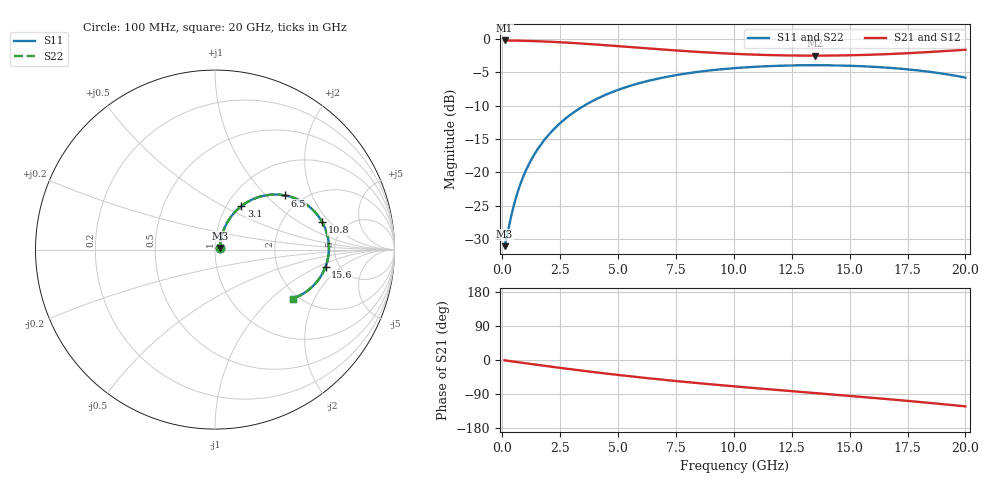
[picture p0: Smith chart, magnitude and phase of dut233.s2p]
! Touchstone file exported from HFSS 2026.1.0
!  File:  C:/ffzhzh/LocalFiles/Ansys_Project_Files/temp_train_TSV_RDL_233_1783065016_46780.aedt
!  Generated:  04:10:50 PM Jul  3, 2026
!  Design:  TSV_RDL
!  Project:  temp_train_TSV_RDL_233_1783065016_46780
! Variables:
!  h_bsmrdl = 2.08um
!  h_ox = 20um
!  h_rdl = 5um
!  h_sub = 96.29um
!  h_tmrdl = 2.48um
!  h_tsv = 96.29um
!  h_via = 3um
!  l_bsmrdl = 251.96um
!  l_sub = 1880.29um
!  l_tmrdl = 149.43um
!  m_sub = 200um
!  pitch = 55.37um
!  r_tsv = 2.14um
!  s_tmrdl = 10um
!  w_bsmrdl = 27.65um
!  w_sub = 500um
!  w_tmrdl = 14.58um
!  x_tsv_center1 = 156.72um
!  x_tsv_center2 = 436.33um
!  x_tsv_center3 = 600.34um
!  x_tsv_center4 = 879.95um
!  x_tsv_center5 = 1043.96um
!  x_tsv_center6 = 1323.57um
# GHz S MA R 50.000000
! Terminal data exported
! Port[1] = TM_RDL1_1_T1
! Port[2] = TM_RDL5_1_T1
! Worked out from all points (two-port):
!   200 points, 100 MHz to 20 GHz, reference 50 ohm
!   highest |S21| = -0.23 dB at 100 MHz (marker M1); lowest = -2.5 dB at 13.5 GHz (marker M2)
!   |S21| within 3 dB of the highest: start of sweep to end of sweep
!   lowest |S11| = -31.1 dB at 100 MHz (marker M3), VSWR 1.06, Z = 52.7 + j1.03 ohm
!   |S11| at or under -10 dB: start of sweep to 3.537 GHz
!   |S22| runs from -31.1 to -3.9 dB; largest |S21 - S12| = 2.6e-14
!   S11 on the Smith chart (normalised r, x): 100 MHz: 1.05, +0.02; 3.1 GHz: 1.17, +0.61; 6.5 GHz: 1.64, +1.31; 10.8 GHz: 3.33, +1.65; 15.6 GHz: 3.91, -1.22; 20 GHz: 1.87, -1.38
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0.1  0.02793 20.4  0.9739 -0.9  0.9739 -0.9  0.02793 20.4
! Gamma 0 0 0 0
! Port Impedance 50 0 50 0
0.4  0.04815 52.8  0.9725 -3.5  0.9725 -3.5  0.04815 52.8
0.6  0.0654 60.2  0.971 -5.2  0.971 -5.2  0.0654 60.2
0.9  0.0923 64.8  0.9683 -7.7  0.9683 -7.7  0.0923 64.8
1.2  0.1195 66.2  0.9651 -10.2  0.9651 -10.2  0.1195 66.2
1.6  0.1555 66.0  0.9599 -13.5  0.9599 -13.5  0.1555 66.0
2  0.1909 64.7  0.9536 -16.8  0.9536 -16.8  0.1909 64.7
2.5  0.2338 62.3  0.9444 -20.8  0.9444 -20.8  0.2338 62.3
3.1  0.2827 58.8  0.9314 -25.5  0.9314 -25.5  0.2827 58.8
3.5  0.3135 56.3  0.9219 -28.6  0.9219 -28.6  0.3135 56.3
4.9  0.4089 47.4  0.8855 -38.8  0.8855 -38.8  0.4089 47.4
6.5  0.4938 37.6  0.8433 -49.4  0.8433 -49.4  0.4938 37.6
6.8  0.5071 35.9  0.8359 -51.3  0.8359 -51.3  0.5071 35.9
8.5  0.5676 26.3  0.7982 -61.3  0.7982 -61.3  0.5676 26.3
10.1  0.6052 18.0  0.7718 -70.0  0.7718 -70.0  0.6052 18.0
10.8  0.6166 14.4  0.7634 -73.7  0.7634 -73.7  0.6166 14.4
13.4  0.635 1.8  0.7492 -86.7  0.7492 -86.7  0.635 1.8
13.5  0.635 1.4  0.7492 -87.2  0.7492 -87.2  0.635 1.4
15.6  0.6233 -8.8  0.7584 -97.8  0.7584 -97.8  0.6233 -8.8
16.7  0.6075 -14.3  0.7701 -103.6  0.7701 -103.6  0.6075 -14.3
18.3  0.5713 -22.6  0.795 -112.3  0.795 -112.3  0.5713 -22.6
20  0.5128 -32.1  0.8303 -122.4  0.8303 -122.4  0.5128 -32.1
